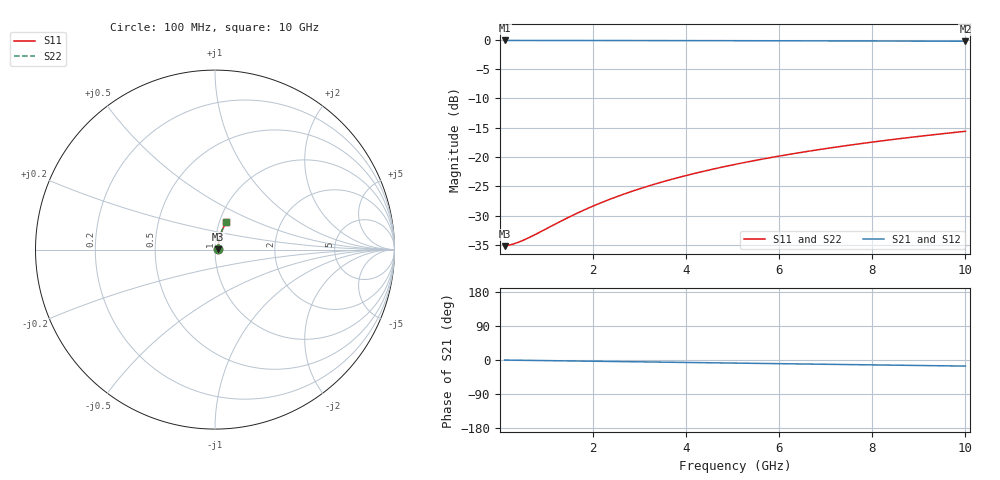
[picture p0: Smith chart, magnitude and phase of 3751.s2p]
# Hz S RI R 50.00
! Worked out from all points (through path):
!   100 points, 100 MHz to 10 GHz, reference 50 ohm
!   highest |S21| = -0.15 dB at 100 MHz (marker M1); lowest = -0.3 dB at 10 GHz (marker M2)
!   group delay of S21, straight-line fit = 4.46 ps
!   lowest |S11| = -35.2 dB at 100 MHz (marker M3), VSWR 1.04, Z = 51.8 + j0.169 ohm
!   |S11| at or under -10 dB: start of sweep to end of sweep
!   |S22| runs from -35.2 to -15.6 dB; largest |S21 - S12| = 0
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1e8  0.0173 0.00163  0.9827 -0.00278  0.9827 -0.00278  0.0173 0.00163
2e8  0.0174 0.00326  0.9826 -0.00556  0.9826 -0.00556  0.0174 0.00326
3e8  0.0175 0.00489  0.9825 -0.00833  0.9825 -0.00833  0.0175 0.00489
4e8  0.0176 0.00652  0.9824 -0.0111  0.9824 -0.0111  0.0176 0.00652
6e8  0.0178 0.00978  0.9822 -0.0167  0.9822 -0.0167  0.0178 0.00978
8e8  0.018 0.013  0.9819 -0.0222  0.9819 -0.0222  0.018 0.013
1.4e9  0.0188 0.0228  0.981 -0.0388  0.981 -0.0388  0.0188 0.0228
1.8e9  0.0195 0.0293  0.9803 -0.0499  0.9803 -0.0499  0.0195 0.0293
2.2e9  0.0203 0.0357  0.9793 -0.0609  0.9793 -0.0609  0.0203 0.0357
2.6e9  0.0213 0.0422  0.9782 -0.072  0.9782 -0.072  0.0213 0.0422
3e9  0.0224 0.0486  0.977 -0.083  0.977 -0.083  0.0224 0.0486
3.4e9  0.0236 0.055  0.9756 -0.0939  0.9756 -0.0939  0.0236 0.055
3.8e9  0.025 0.0613  0.974 -0.1049  0.974 -0.1049  0.025 0.0613
4.2e9  0.0265 0.0676  0.9723 -0.1158  0.9723 -0.1158  0.0265 0.0676
4.6e9  0.0281 0.0739  0.9704 -0.1266  0.9704 -0.1266  0.0281 0.0739
5.1e9  0.0304 0.0816  0.9678 -0.1401  0.9678 -0.1401  0.0304 0.0816
5.9e9  0.0344 0.0939  0.9632 -0.1616  0.9632 -0.1616  0.0344 0.0939
6.7e9  0.039 0.106  0.9579 -0.1828  0.9579 -0.1828  0.039 0.106
7.5e9  0.0441 0.1178  0.9521 -0.2038  0.9521 -0.2038  0.0441 0.1178
8.4e9  0.0505 0.1307  0.9447 -0.2271  0.9447 -0.2271  0.0505 0.1307
9.2e9  0.0566 0.1419  0.9376 -0.2475  0.9376 -0.2475  0.0566 0.1419
1e10  0.0632 0.1527  0.93 -0.2676  0.93 -0.2676  0.0632 0.1527
